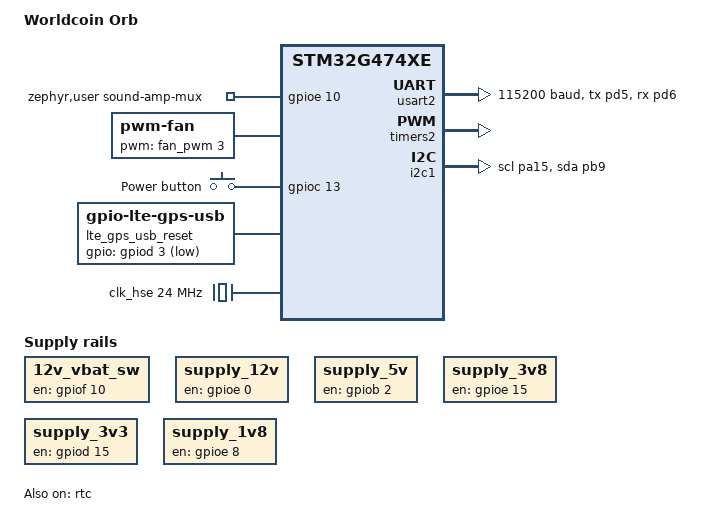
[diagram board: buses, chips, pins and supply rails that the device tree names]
/dts-v1/;
#include <st/g4/stm32g474Xe.dtsi>
#include <st/g4/stm32g474v(b-c-e)tx-pinctrl.dtsi>

/ {
	model = "Worldcoin Orb";
	compatible = "worldcoin,orb";

	chosen {
		zephyr,console = &usart2;
		zephyr,shell-uart = &usart2;
		zephyr,sram = &sram0;
		zephyr,flash = &flash0;
		zephyr,can-primary = &can1;
	};

    zephyr,user {
        // This is a mux for who controls the audio amp
        // 1 == MCU
        // 0 == Jetson
        sound-amp-mux-gpios = <&gpioe 10 GPIO_ACTIVE_HIGH>;
    };

    vbat_sw {
        compatible = "regulator-fixed-sync", "regulator-fixed";
        label = "12V VBAT SW";
        regulator-name = "12v_vbat_sw";
        enable-gpios = <&gpiof 10 GPIO_ACTIVE_HIGH>;

        // This is attached to a MOSFET to allow the battery
        // power to be sent to the inputs of:
        // * 12v supply
        // * 5v supply
        // * Supercap charger
        //
        // As such, it has no power good pin
    };

    supply_12v {
        compatible = "regulator-fixed-sync", "regulator-fixed";
        label = "12V Supply";
        regulator-name = "supply_12v";
        enable-gpios = <&gpioe 0 GPIO_ACTIVE_HIGH>;

        // Has no power good pin
    };

    supply_5v {
        compatible = "regulator-fixed-sync", "regulator-fixed";
        label = "5V Supply";
        regulator-name = "supply_5v";
        enable-gpios = <&gpiob 2 GPIO_ACTIVE_HIGH>;

        power_good {
            compatible = "gpio-power-good";
            gpios = <&gpiob 1 GPIO_PULL_UP>;
        };
    };

    supply_3v8 {
        compatible = "regulator-fixed-sync", "regulator-fixed";
        label = "3.8V Supply";
        regulator-name = "supply_3v8";
        enable-gpios = <&gpioe 15 GPIO_ACTIVE_HIGH>;
    };

    supply_3v3 {
        compatible = "regulator-fixed-sync", "regulator-fixed";
        label = "3.3V Supply";
        regulator-name = "supply_3v3";
        enable-gpios = <&gpiod 15 GPIO_ACTIVE_HIGH>;

        power_good {
            compatible = "gpio-power-good";
            gpios = <&gpioa 12 GPIO_PULL_UP>;
        };
    };

    supply_1v8 {
        compatible = "regulator-fixed-sync", "regulator-fixed";
        label = "1.8V Supply";
        regulator-name = "supply_1v8";
        enable-gpios = <&gpioe 8 GPIO_ACTIVE_HIGH>;

        power_good {
            compatible = "gpio-power-good";
            gpios = <&gpioe 7 GPIO_PULL_UP>;
        };
    };

    fan {
        compatible = "pwm-fan";
        pwms = <&fan_pwm 3 10000 PWM_POLARITY_NORMAL>;

        // Currently no tachometer reading, only a 2-wire fan
    };

    buttons {
        compatible = "gpio-keys";

        power_button {
            gpios = <&gpioc 13 GPIO_ACTIVE_HIGH>;
            label = "Power button";
        };
    };

    jetson_power_pins {
        compatible = "gpio-jetson-power";
        shutdown_request {
            gpios = <&gpioe 14 GPIO_ACTIVE_LOW>;

            // input
            // Jetson module uses this to request a shutdown sequence
        };

        power_enable {
            gpios = <&gpioe 12 (GPIO_ACTIVE_LOW | GPIO_OPEN_DRAIN)>;

            // output
            // this signals the Jetson module to turn on an off
        };

        system_reset {
            gpios = <&gpioe 11 GPIO_ACTIVE_LOW>;

            // bidirectional
            // drive low to reset
            // driven by Jetson to indicate power sequence is complete
        };

        module_sleep {
            gpios = <&gpiof 2 GPIO_ACTIVE_LOW>;

            // input
            // when driven low indicates that the module has gone to sleep
        };

        sleep_wake {
            gpios = <&gpioe 9 GPIO_ACTIVE_HIGH>;

            // output
            // drive high to indicate that the Jetson should enter sleep mode
        };
    };

    lte_gps_usb_reset {
        compatible = "gpio-lte-gps-usb";
        gpios = <&gpiod 3 GPIO_ACTIVE_LOW>;
    };
};

&clk_hse {
	clock-frequency = <DT_FREQ_M(24)>;
	status = "okay";
};

&pll {
	div-m = <6>;
	mul-n = <85>;
	div-p = <7>;
	div-q = <2>;
	div-r = <2>;
	clocks = <&clk_hse>;
	status = "okay";
};

&rcc {
	clocks = <&pll>;
	clock-frequency = <DT_FREQ_M(170)>;
	ahb-prescaler = <1>;
	apb1-prescaler = <1>;
	apb2-prescaler = <1>;
};

&usart2 {
	pinctrl-0 = <&usart2_tx_pd5 &usart2_rx_pd6>;
	current-speed = <115200>;
	status = "okay";
};

&rtc {
	status = "okay";
};

&timers2 {
     status = "okay";

    fan_pwm: pwm {
        status = "okay";
        pinctrl-0 = <&tim2_ch3_pd7>;
    };
};

&i2c1 {
    pinctrl-0 = <&i2c1_scl_pa15 &i2c1_sda_pb9>;
    status = "okay";
};

&flash0 {
	/*
	 * For more information, see:
	 * http://docs.zephyrproject.org/latest/guides/dts/index.html#flash-partitions
	 */
	partitions {
		compatible = "fixed-partitions";
		#address-cells = <1>;
		#size-cells = <1>;

		/* Set 2Kb of storage at the end of the 128Kb of flash */
		storage_partition: partition@1f800 {
			label = "storage";
			reg = <0x0001f800 0x00000800>;
		};
	};
};
